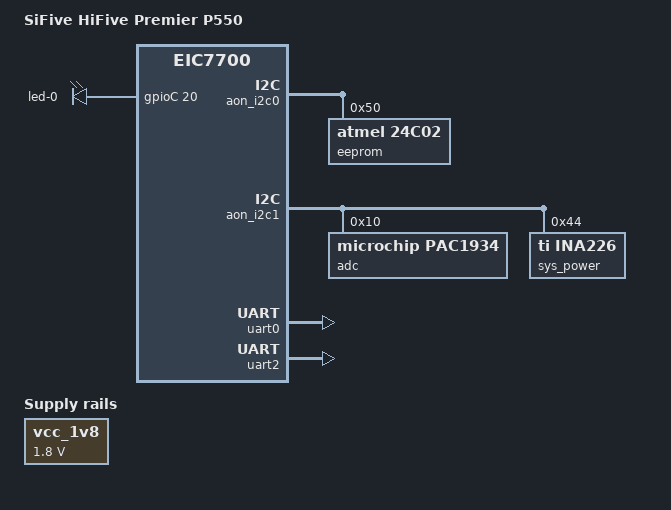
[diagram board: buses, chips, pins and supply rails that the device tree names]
// SPDX-License-Identifier: (GPL-2.0 OR MIT)
/*
 * Copyright (c) 2024, Beijing ESWIN Computing Technology Co., Ltd.
 */

/dts-v1/;

#include "eic7700.dtsi"
#include "eic7700-pinctrl.dtsi"
#include <dt-bindings/gpio/gpio.h>

/ {
	compatible = "sifive,hifive-premier-p550", "eswin,eic7700";
	model = "SiFive HiFive Premier P550";

	aliases {
		serial0 = &uart0;
	};

	chosen {
		stdout-path = "serial0:115200n8";
	};

	leds {
		compatible = "gpio-leds";
		pinctrl-names = "default";
		pinctrl-0 = <&gpio84_pins>;

		led-0 {
			gpios = <&gpioC 20 GPIO_ACTIVE_HIGH>;
		};
	};

	vcc_1v8: regulator-vcc1v8 {
		compatible = "regulator-fixed";
		regulator-name = "vcc1v8";
		regulator-always-on;
		regulator-boot-on;
		regulator-min-microvolt = <1800000>;
		regulator-max-microvolt = <1800000>;
	};
};

&aon_i2c0 {
	status = "okay";

	eeprom@50 {
		compatible = "atmel,24c02";
		reg = <0x50>;
	};
};

&aon_i2c1 {
	status = "okay";

	adc@10 {
		compatible = "microchip,pac1934";
		reg = <0x10>;
		#address-cells = <1>;
		#size-cells = <0>;

		channel@1 {
			reg = <0x1>;
			shunt-resistor-micro-ohms = <1000>;
			label = "VDD_SOM";
		};

		channel@2 {
			reg = <0x2>;
			shunt-resistor-micro-ohms = <1000>;
			label = "VDD_SOC";
		};

		channel@3 {
			reg = <0x3>;
			shunt-resistor-micro-ohms = <1000>;
			label = "VDD_CPU";
		};

		channel@4 {
			reg = <0x4>;
			shunt-resistor-micro-ohms = <1000>;
			label = "VDD_LPDDR";
		};
	};

	power-sensor@44 {
		compatible = "ti,ina226";
		reg = <0x44>;
		#io-channel-cells = <1>;
		label = "sys_power";
		shunt-resistor = <1000>;
	};
};

&gpio84_pins {
	bias-disable;
	input-disable;
};

&osc {
	clock-frequency = <24000000>;
	clock-output-names = "osc_24m";
};

&pinctrl {
	vrgmii-supply = <&vcc_1v8>;
};

&uart0 {
	status = "okay";
	pinctrl-names = "default";
	pinctrl-0 = <&uart0_pins>;
};

&uart2 {
	status = "okay";
	pinctrl-names = "default";
	pinctrl-0 = <&uart2_pins>;
};
